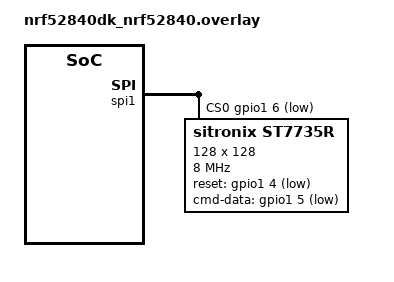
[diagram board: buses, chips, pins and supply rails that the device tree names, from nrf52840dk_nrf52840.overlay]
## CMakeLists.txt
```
# SPDX-License-Identifier: Apache-2.0

cmake_minimum_required(VERSION 3.20.0)

find_package(Zephyr REQUIRED HINTS $ENV{ZEPHYR_BASE})
project(lvgl_hello_world)

FILE(GLOB app_sources src/*.c)
target_sources(app PRIVATE ${app_sources})
```

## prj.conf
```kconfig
CONFIG_LV_Z_MEM_POOL_SIZE=16384
CONFIG_LV_Z_SHELL=y
CONFIG_MAIN_STACK_SIZE=2048

CONFIG_DISPLAY=y
CONFIG_DISPLAY_LOG_LEVEL_ERR=y

CONFIG_LOG=y
CONFIG_SHELL=y

CONFIG_LVGL=y
CONFIG_LV_MEM_CUSTOM=y
CONFIG_LV_USE_LOG=y
CONFIG_LV_USE_LABEL=y
CONFIG_LV_USE_BTN=y
CONFIG_LV_USE_ARC=y
CONFIG_LV_USE_IMG=y
CONFIG_LV_USE_MONKEY=y
CONFIG_LV_FONT_MONTSERRAT_14=y

CONFIG_SPI=y
CONFIG_ST7735R=y
```

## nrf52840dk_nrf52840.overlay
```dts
//#include <zephyr/dt-bindings/mipi_dsi/mipi_dsi.h>

/ {
    chosen {
        zephyr,display = &st7735r;
    };
};
&spi1 {
    status = "okay";
    cs-gpios = <&gpio1 6 GPIO_ACTIVE_LOW>;
    st7735r: st7735r@0 {
        compatible = "sitronix,st7735r";
        reg = <0>;
        // label = "ST7735R";
        spi-max-frequency = <DT_FREQ_M(8)>;
        width = <128>;
        height = <128>;
        x-offset = <3>;
		y-offset = <2>;
        madctl = <0x60>;
        colmod = <0x55>;
        vmctr1 = <0x0e>;
        pwctr1 = [a2 02 84];
        pwctr2 = [c5];
        pwctr3 = [0a 00];
        pwctr4 = [8a 2a];
        pwctr5 = [8a ee];
        frmctr1 = [01 2c 2d];
        frmctr2 = [01 2c 2d];
        frmctr3 = [01 2c 2d 01 2c 2d];
        gamctrp1 = [02 1c 07 12 37 32 29 2d 29 25 2b 39 00 01 03 10];
        gamctrn1 = [03 1d 07 06 2e 2c 29 2d 2e 2e 37 3f 00 00 02 10];
        reset-gpios = <&gpio1 4 GPIO_ACTIVE_LOW>;
        cmd-data-gpios = <&gpio1 5 GPIO_ACTIVE_LOW>;
    };
};
```

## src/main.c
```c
/*
 * Copyright (c) 2018 Jan Van Winkel <jan.van_winkel@dxplore.eu>
 *
 * SPDX-License-Identifier: Apache-2.0
 */

#include <zephyr/device.h>
#include <zephyr/devicetree.h>
#include <zephyr/drivers/display.h>
#include <zephyr/drivers/gpio.h>
#include <lvgl.h>
#include <stdio.h>
#include <string.h>
#include <zephyr/kernel.h>
#include <lvgl_input_device.h>

#define LOG_LEVEL CONFIG_LOG_DEFAULT_LEVEL
#include <zephyr/logging/log.h>
LOG_MODULE_REGISTER(app);

static uint32_t count;

#ifdef CONFIG_GPIO
static struct gpio_dt_spec button_gpio = GPIO_DT_SPEC_GET_OR(
		DT_ALIAS(sw0), gpios, {0});
static struct gpio_callback button_callback;

static void button_isr_callback(const struct device *port,
				struct gpio_callback *cb,
				uint32_t pins)
{
	ARG_UNUSED(port);
	ARG_UNUSED(cb);
	ARG_UNUSED(pins);

	count = 0;
}
#endif /* CONFIG_GPIO */

#ifdef CONFIG_LV_Z_ENCODER_INPUT
static const struct device *lvgl_encoder =
	DEVICE_DT_GET(DT_COMPAT_GET_ANY_STATUS_OKAY(zephyr_lvgl_encoder_input));
#endif /* CONFIG_LV_Z_ENCODER_INPUT */

static void lv_btn_click_callback(lv_event_t *e)
{
	ARG_UNUSED(e);

	count = 0;
}

int main(void)
{
	char count_str[11] = {0};
	const struct device *display_dev;
	lv_obj_t *hello_world_label;
	lv_obj_t *count_label;

	display_dev = DEVICE_DT_GET(DT_CHOSEN(zephyr_display));
	if (!device_is_ready(display_dev)) {
		LOG_ERR("Device not ready, aborting test");
		return 0;
	}

#ifdef CONFIG_GPIO
	if (gpio_is_ready_dt(&button_gpio)) {
		int err;

		err = gpio_pin_configure_dt(&button_gpio, GPIO_INPUT);
		if (err) {
			LOG_ERR("failed to configure button gpio: %d", err);
			return 0;
		}

		gpio_init_callback(&button_callback, button_isr_callback,
				   BIT(button_gpio.pin));

		err = gpio_add_callback(button_gpio.port, &button_callback);
		if (err) {
			LOG_ERR("failed to add button callback: %d", err);
			return 0;
		}

		err = gpio_pin_interrupt_configure_dt(&button_gpio,
						      GPIO_INT_EDGE_TO_ACTIVE);
		if (err) {
			LOG_ERR("failed to enable button callback: %d", err);
			return 0;
		}
	}
#endif /* CONFIG_GPIO */

#ifdef CONFIG_LV_Z_ENCODER_INPUT
	lv_obj_t *arc;
	lv_group_t *arc_group;

	arc = lv_arc_create(lv_scr_act());
	lv_obj_align(arc, LV_ALIGN_CENTER, 0, 0);
	lv_obj_set_size(arc, 150, 150);

	arc_group = lv_group_create();
	lv_group_add_obj(arc_group, arc);
	lv_indev_set_group(lvgl_input_get_indev(lvgl_encoder), arc_group);
#endif /* CONFIG_LV_Z_ENCODER_INPUT */

	if (IS_ENABLED(CONFIG_LV_Z_POINTER_KSCAN) || IS_ENABLED(CONFIG_LV_Z_POINTER_INPUT)) {
		lv_obj_t *hello_world_button;

		hello_world_button = lv_btn_create(lv_scr_act());
		lv_obj_align(hello_world_button, LV_ALIGN_CENTER, 0, 0);
		lv_obj_add_event_cb(hello_world_button, lv_btn_click_callback, LV_EVENT_CLICKED,
						NULL);
		hello_world_label = lv_label_create(hello_world_button);
	} else {
		hello_world_label = lv_label_create(lv_scr_act());
	}

	lv_label_set_text(hello_world_label, "Hello world!");
	lv_obj_align(hello_world_label, LV_ALIGN_CENTER, 0, 0);

	count_label = lv_label_create(lv_scr_act());
	lv_obj_align(count_label, LV_ALIGN_BOTTOM_MID, 0, 0);

	lv_task_handler();
	display_blanking_off(display_dev);

	while (1) {
		if ((count % 100) == 0U) {
			sprintf(count_str, "%d", count/100U);
			lv_label_set_text(count_label, count_str);
		}
		lv_task_handler();
		++count;
		//LOG_INF("count: %d", count);
		k_sleep(K_MSEC(10));
	}
}
```
